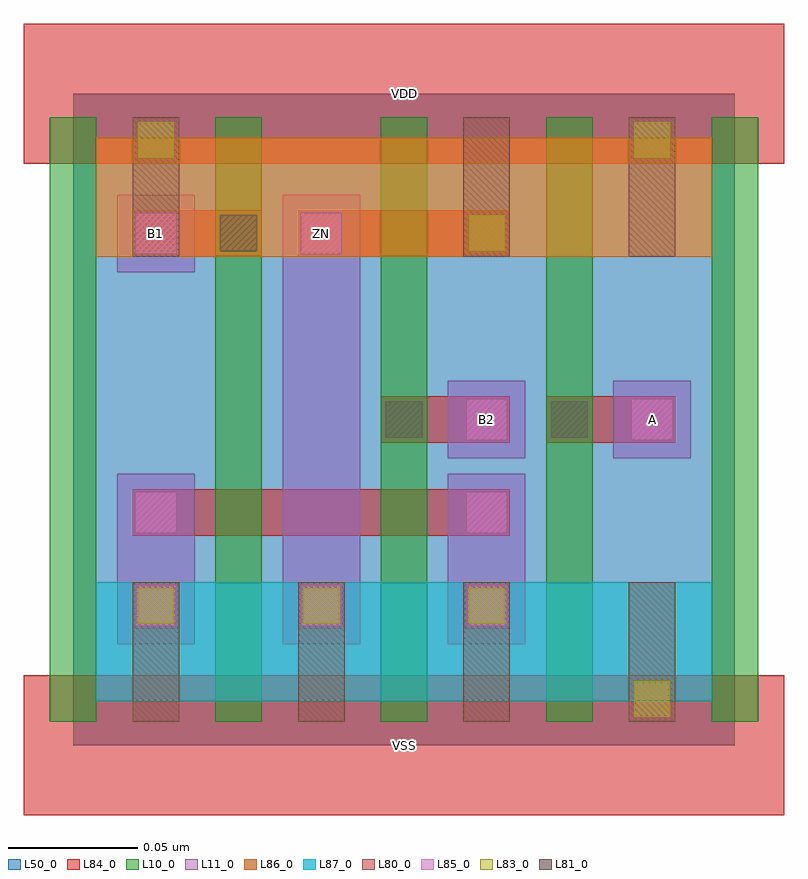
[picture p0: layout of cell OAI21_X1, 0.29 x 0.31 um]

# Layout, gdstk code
import gdstk
lib = gdstk.Library(unit=1e-6, precision=1e-09)
def R(c, l, rs):  # rectangles x0, y0, x1, y1
    for r in rs: c.add(gdstk.rectangle(r[:2], r[2:], *l))
def A(c, l, x, y, w, h, nx, ny, dx, dy):  # array of equal rectangles
    R(c, l, [(x+i*dx, y+j*dy, x+i*dx+w, y+j*dy+h) for i in range(nx) for j in range(ny)])
L10_0 = (10, 0)
L11_0 = (11, 0)
L50_0 = (50, 0)
L80_0 = (80, 0)
L81_0 = (81, 0)
L83_0 = (83, 0)
L84_0 = (84, 0)
L85_0 = (85, 0)
L86_0 = (86, 0)
L87_0 = (87, 0)

oai21_x1 = lib.new_cell('OAI21_X1')
A(oai21_x1, L10_0, -0.009, 0.009, 0.018, 0.234, 5, 1, 0.064, 0)
R(oai21_x1, L11_0, [(0.017,0.039,0.047,0.105), (0.081,0.039,0.111,0.213), (0.145,0.039,0.175,0.105), (0.145,0.111,0.175,0.141), (0.209,0.111,0.239,0.141), (0.017,0.183,0.047,0.213)])
R(oai21_x1, L50_0, [(0,0,0.256,0.252)])
A(oai21_x1, L80_0, 0.023, 0.009, 0.018, 0.054, 4, 1, 0.064, 0)
R(oai21_x1, L80_0, [(0.023,0.189,0.041,0.243), (0.151,0.189,0.169,0.243), (0.215,0.189,0.233,0.243)])
R(oai21_x1, L81_0, [(0.121,0.119,0.135,0.133), (0.185,0.119,0.199,0.133), (0.057,0.191,0.071,0.205)])
A(oai21_x1, L83_0, 0.025, 0.047, 0.014, 0.014, 3, 1, 0.064, 0)
R(oai21_x1, L83_0, [(0.217,0.011,0.231,0.025), (0.153,0.191,0.167,0.205), (0.025,0.227,0.039,0.241), (0.217,0.227,0.231,0.241)])
A(oai21_x1, L84_0, 0.023, 0.045, 0.018, 0.018, 3, 1, 0.064, 0)
R(oai21_x1, L84_0, [(-0.019,-0.027,0.275,0.027), (0.023,0.081,0.169,0.099), (0.119,0.117,0.169,0.135), (0.183,0.117,0.233,0.135), (0.023,0.189,0.073,0.207), (0.087,0.189,0.169,0.207), (-0.019,0.225,0.275,0.279)])
A(oai21_x1, L85_0, 0.024, 0.046, 0.016, 0.016, 3, 1, 0.064, 0)
R(oai21_x1, L85_0, [(0.024,0.082,0.04,0.098), (0.152,0.082,0.168,0.098), (0.152,0.118,0.168,0.134), (0.216,0.118,0.232,0.134), (0.024,0.19,0.04,0.206), (0.088,0.19,0.104,0.206)])
R(oai21_x1, L86_0, [(0.009,0.189,0.247,0.235)])
R(oai21_x1, L87_0, [(0.009,0.017,0.247,0.063)])
oai21_x1.add(gdstk.Label('VDD', (0.128,0.252), layer=88, texttype=0))
oai21_x1.add(gdstk.Label('VSS', (0.128,0), layer=88, texttype=0))
oai21_x1.add(gdstk.Label('ZN', (0.096,0.198), layer=31, texttype=0))
oai21_x1.add(gdstk.Label('B1', (0.032,0.198), layer=31, texttype=0))
oai21_x1.add(gdstk.Label('B2', (0.16,0.126), layer=31, texttype=0))
oai21_x1.add(gdstk.Label('A', (0.224,0.126), layer=31, texttype=0))

lib.write_gds('OAI21_X1.gds')
